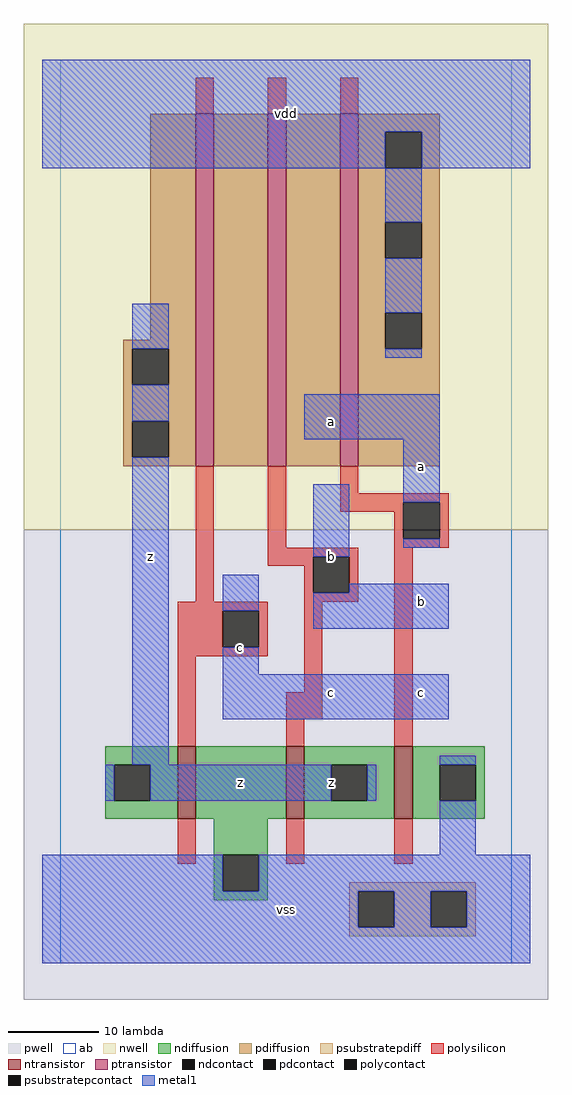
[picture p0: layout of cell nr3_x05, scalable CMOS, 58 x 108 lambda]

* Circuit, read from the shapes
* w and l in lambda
.subckt nr3_x05 a b c vdd vss z
M1 vss c z vss nfet w=8 l=2
M2 z b vss vss nfet w=8 l=2
M3 vss a z vss nfet w=8 l=2
M4 n1 c z n2 pfet w=39 l=2
M5 n3 b n1 n2 pfet w=39 l=2
M6 vdd a n3 n2 pfet w=39 l=2
.ends

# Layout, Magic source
magic
tech scmos
<< ab >>
rect 0 0 50 100
<< pwell >>
rect -4 -4 54 48
<< nwell >>
rect -4 48 54 104
<< polysilicon >>
rect 15 94 17 98
rect 23 94 25 98
rect 31 94 33 98
rect 15 40 17 55
rect 23 46 25 55
rect 31 52 33 55
rect 31 51 43 52
rect 31 50 38 51
rect 37 47 38 50
rect 42 47 43 51
rect 37 46 43 47
rect 23 45 33 46
rect 23 44 28 45
rect 27 41 28 44
rect 32 41 33 45
rect 27 40 33 41
rect 13 39 23 40
rect 13 35 18 39
rect 22 35 23 39
rect 13 34 23 35
rect 13 24 15 34
rect 27 30 29 40
rect 25 27 29 30
rect 25 24 27 27
rect 37 24 39 46
rect 13 11 15 16
rect 25 11 27 16
rect 37 11 39 16
<< ndiffusion >>
rect 5 22 13 24
rect 5 18 6 22
rect 10 18 13 22
rect 5 16 13 18
rect 15 16 25 24
rect 27 22 37 24
rect 27 18 30 22
rect 34 18 37 22
rect 27 16 37 18
rect 39 22 47 24
rect 39 18 42 22
rect 46 18 47 22
rect 39 16 47 18
rect 17 12 23 16
rect 17 8 18 12
rect 22 8 23 12
rect 17 7 23 8
<< pdiffusion >>
rect 10 69 15 94
rect 7 68 15 69
rect 7 64 8 68
rect 12 64 15 68
rect 7 60 15 64
rect 7 56 8 60
rect 12 56 15 60
rect 7 55 15 56
rect 17 55 23 94
rect 25 55 31 94
rect 33 92 42 94
rect 33 88 36 92
rect 40 88 42 92
rect 33 82 42 88
rect 33 78 36 82
rect 40 78 42 82
rect 33 72 42 78
rect 33 68 36 72
rect 40 68 42 72
rect 33 55 42 68
<< metal1 >>
rect -2 92 52 100
rect -2 88 36 92
rect 40 88 52 92
rect 36 82 40 88
rect 8 68 12 73
rect 36 72 40 78
rect 36 67 40 68
rect 8 60 12 64
rect 27 58 42 63
rect 8 22 12 56
rect 28 45 32 53
rect 38 51 42 58
rect 38 46 42 47
rect 18 39 22 43
rect 32 41 43 42
rect 28 37 43 41
rect 18 32 22 35
rect 18 27 43 32
rect 42 22 46 23
rect 5 18 6 22
rect 10 18 30 22
rect 34 18 35 22
rect 42 12 46 18
rect -2 8 18 12
rect 22 8 52 12
rect -2 4 33 8
rect 37 4 41 8
rect 45 4 52 8
rect -2 0 52 4
<< ntransistor >>
rect 13 16 15 24
rect 25 16 27 24
rect 37 16 39 24
<< ptransistor >>
rect 15 55 17 94
rect 23 55 25 94
rect 31 55 33 94
<< polycontact >>
rect 38 47 42 51
rect 28 41 32 45
rect 18 35 22 39
<< ndcontact >>
rect 6 18 10 22
rect 30 18 34 22
rect 42 18 46 22
rect 18 8 22 12
<< pdcontact >>
rect 8 64 12 68
rect 8 56 12 60
rect 36 88 40 92
rect 36 78 40 82
rect 36 68 40 72
<< psubstratepcontact >>
rect 33 4 37 8
rect 41 4 45 8
<< psubstratepdiff >>
rect 32 8 46 9
rect 32 4 33 8
rect 37 4 41 8
rect 45 4 46 8
rect 32 3 46 4
<< labels >>
rlabel metal1 20 20 20 20 6 z
rlabel metal1 10 45 10 45 6 z
rlabel metal1 20 35 20 35 6 c
rlabel metal1 25 6 25 6 6 vss
rlabel metal1 30 20 30 20 6 z
rlabel metal1 30 45 30 45 6 b
rlabel metal1 30 30 30 30 6 c
rlabel metal1 30 60 30 60 6 a
rlabel metal1 25 94 25 94 6 vdd
rlabel metal1 40 40 40 40 6 b
rlabel metal1 40 30 40 30 6 c
rlabel metal1 40 55 40 55 6 a
<< end >>
